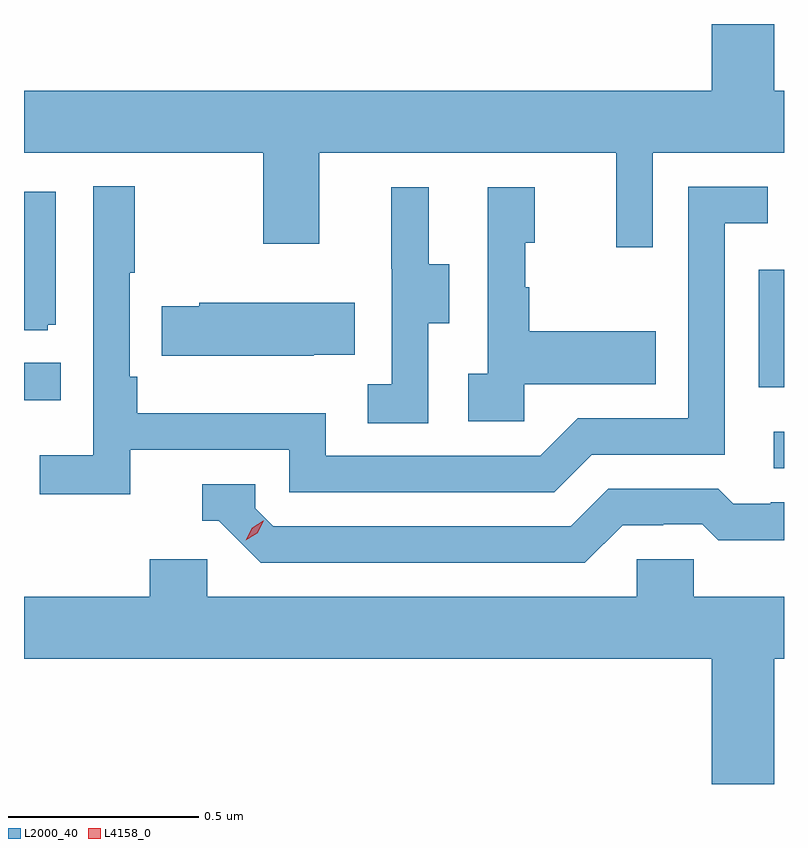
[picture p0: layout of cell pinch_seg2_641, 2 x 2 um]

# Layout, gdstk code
import gdstk
lib = gdstk.Library(unit=1e-6, precision=1e-09)
def R(c, l, rs):  # rectangles x0, y0, x1, y1
    for r in rs: c.add(gdstk.rectangle(r[:2], r[2:], *l))
def P(c, l, *ps):  # polygons
    for p in ps: c.add(gdstk.Polygon(p, *l))
L2000_40 = (2000, 40)
L4158_0 = (4158, 0)

pinch_seg2_641 = lib.new_cell('pinch_seg2_641')
R(pinch_seg2_641, L2000_40, [(1040.295,608.178,1040.322,608.274), (1038.322,608.357,1038.419,608.456), (1040.256,608.391,1040.322,608.7)])
P(pinch_seg2_641, L2000_40, [(1039.977,609.008),(1040.322,609.008),(1040.322,609.172),(1040.296,609.172),(1040.296,609.347),(1040.132,609.347),(1040.132,609.172),(1038.322,609.172),(1038.322,609.008),(1038.952,609.008),(1038.952,608.769),(1039.099,608.769),(1039.099,609.008),(1039.88,609.008),(1039.88,608.76),(1039.977,608.76)],
  [(1038.602,608.226),(1039.02,608.226),(1039.02,608.115),(1039.717,608.115),(1039.816,608.214),(1040.166,608.214),(1040.166,608.823),(1040.279,608.823),(1040.279,608.919),(1040.07,608.919),(1040.07,608.31),(1039.779,608.31),(1039.68,608.211),(1039.116,608.211),(1039.116,608.323),(1038.62,608.323),(1038.62,608.419),(1038.6,608.419),(1038.6,608.692),(1038.613,608.692),(1038.613,608.92),(1038.504,608.92),(1038.504,608.212),(1038.363,608.212),(1038.363,608.11),(1038.602,608.11)],
  [(1039.638,608.399),(1039.985,608.399),(1039.985,608.539),(1039.651,608.539),(1039.651,608.654),(1039.641,608.654),(1039.641,608.772),(1039.666,608.772),(1039.666,608.917),(1039.542,608.917),(1039.542,608.426),(1039.491,608.426),(1039.491,608.301),(1039.638,608.301)],
  [(1039.386,608.56),(1039.441,608.56),(1039.441,608.715),(1039.387,608.715),(1039.387,608.917),(1039.289,608.917),(1039.289,608.703),(1039.29,608.703),(1039.29,608.399),(1039.227,608.399),(1039.227,608.296),(1039.386,608.296)],
  [(1038.384,608.556),(1038.406,608.556),(1038.406,608.905),(1038.322,608.905),(1038.322,608.541),(1038.384,608.541)],
  [(1039.085,608.477),(1039.193,608.477),(1039.193,608.614),(1038.783,608.614),(1038.783,608.604),(1038.685,608.604),(1038.685,608.474),(1039.085,608.474)],
  [(1039.897,608.028),(1040.004,608.028),(1040.004,608.031),(1040.107,608.031),(1040.149,607.989),(1040.322,607.989),(1040.322,608.088),(1040.287,608.088),(1040.287,608.085),(1040.188,608.085),(1040.149,608.124),(1039.86,608.124),(1039.761,608.025),(1038.978,608.025),(1038.93,608.073),(1038.93,608.136),(1038.791,608.136),(1038.791,608.04),(1038.834,608.04),(1038.945,607.929),(1039.798,607.929)],
  [(1040.296,607.676),(1040.322,607.676),(1040.322,607.84),(1040.085,607.84),(1040.085,607.938),(1039.935,607.938),(1039.935,607.84),(1038.804,607.84),(1038.804,607.938),(1038.653,607.938),(1038.653,607.84),(1038.322,607.84),(1038.322,607.676),(1040.132,607.676),(1040.132,607.347),(1040.296,607.347)])
P(pinch_seg2_641, L4158_0, [(1038.906,607.988),(1038.906,607.988),(1038.922,608.021),(1038.952,608.04),(1038.953,608.04),(1038.953,608.04),(1038.936,608.007),(1038.906,607.988)])

lib.write_gds('pinch_seg2_641.gds')
